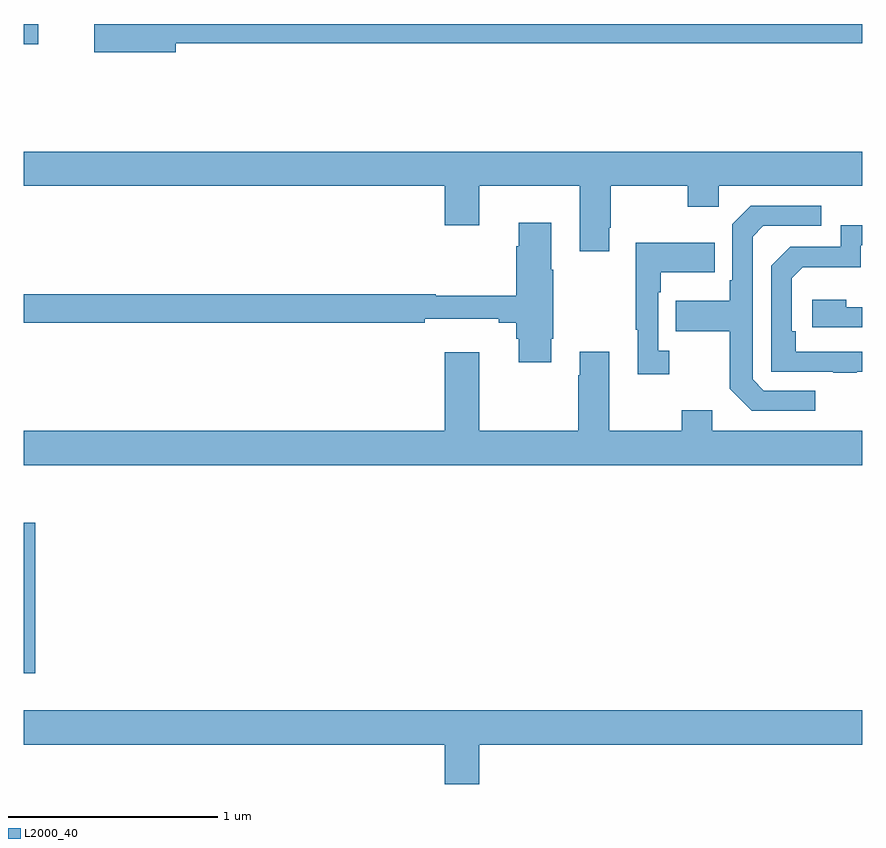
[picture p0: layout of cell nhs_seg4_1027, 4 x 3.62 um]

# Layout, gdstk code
import gdstk
lib = gdstk.Library(unit=1e-6, precision=1e-09)
def R(c, l, rs):  # rectangles x0, y0, x1, y1
    for r in rs: c.add(gdstk.rectangle(r[:2], r[2:], *l))
def P(c, l, *ps):  # polygons
    for p in ps: c.add(gdstk.Polygon(p, *l))
L2000_40 = (2000, 40)

nhs_seg4_1027 = lib.new_cell('nhs_seg4_1027')
R(nhs_seg4_1027, L2000_40, [(163,819.804,163.055,820.522), (163,822.803,163.069,822.9)])
P(nhs_seg4_1027, L2000_40, [(163.726,822.808),(167,822.808),(167,822.9),(163.338,822.9),(163.338,822.766),(163.726,822.766)],
  [(165.793,821.929),(165.801,821.929),(165.801,822.128),(166.168,822.128),(166.168,822.029),(166.314,822.029),(166.314,822.128),(167,822.128),(167,822.292),(163,822.292),(163,822.128),(165.008,822.128),(165.008,821.94),(165.172,821.94),(165.172,822.128),(165.653,822.128),(165.653,821.817),(165.793,821.817)],
  [(166.774,821.151),(166.53,821.151),(166.476,821.205),(166.476,821.886),(166.527,821.937),(166.804,821.937),(166.804,822.033),(166.467,822.033),(166.38,821.946),(166.38,821.677),(166.368,821.677),(166.368,821.581),(166.111,821.581),(166.111,821.434),(166.368,821.434),(166.368,821.161),(166.473,821.055),(166.774,821.055)],
  [(165.517,821.398),(165.525,821.398),(165.525,821.729),(165.517,821.729),(165.517,821.953),(165.362,821.953),(165.362,821.84),(165.35,821.84),(165.35,821.605),(164.966,821.605),(164.966,821.612),(163,821.612),(163,821.476),(164.912,821.476),(164.912,821.495),(165.266,821.495),(165.266,821.476),(165.35,821.476),(165.35,821.399),(165.362,821.399),(165.362,821.286),(165.517,821.286)],
  [(166.973,821.241),(167,821.241),(167,821.337),(166.682,821.337),(166.682,821.434),(166.662,821.434),(166.662,821.688),(166.715,821.741),(166.992,821.741),(166.992,821.844),(167,821.844),(167,821.94),(166.896,821.94),(166.896,821.838),(166.656,821.838),(166.566,821.748),(166.566,821.241),(166.861,821.241),(166.861,821.236),(166.973,821.236)],
  [(166.078,821.342),(166.026,821.342),(166.026,821.621),(166.039,821.621),(166.039,821.717),(166.295,821.717),(166.295,821.857),(165.918,821.857),(165.918,821.441),(165.929,821.441),(165.929,821.229),(166.078,821.229)],
  [(167,821.55),(166.922,821.55),(166.922,821.584),(166.761,821.584),(166.761,821.454),(167,821.454)],
  [(167,820.96),(166.285,820.96),(166.285,821.059),(166.138,821.059),(166.138,820.96),(165.793,820.96),(165.793,821.338),(165.653,821.338),(165.653,821.225),(165.646,821.225),(165.646,820.96),(165.172,820.96),(165.172,821.335),(165.008,821.335),(165.008,820.96),(163,820.96),(163,820.796),(167,820.796)],
  [(165.172,819.464),(167,819.464),(167,819.628),(163,819.628),(163,819.464),(165.008,819.464),(165.008,819.276),(165.172,819.276)])

lib.write_gds('nhs_seg4_1027.gds')
